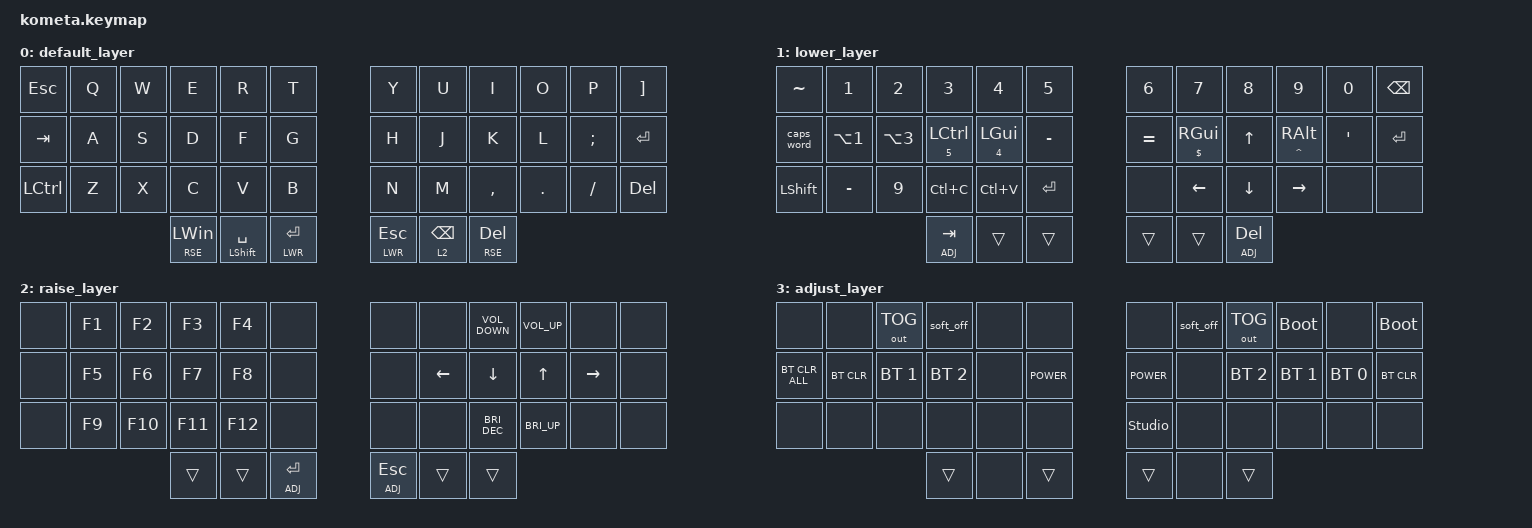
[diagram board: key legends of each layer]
#include <behaviors.dtsi>
#include <dt-bindings/zmk/bt.h>
#include <dt-bindings/zmk/keys.h>
#include <dt-bindings/zmk/outputs.h>

#define DEF 0
#define LWR 1
#define RSE 2
#define ADJ 3

/ {
};

/ {
    behaviors {
        hr: hr {
            compatible = "zmk,behavior-hold-tap";
            label = "home_row";
            bindings = <&kp>, <&kp>;

            #binding-cells = <2>;
            tapping-term-ms = <150>;
            quick-tap-ms = <250>;
            flavor = "tap-preferred";
        };

        copy: copy {
            compatible = "zmk,behavior-tap-dance";
            label = "COPY";
            #binding-cells = <0>;
            bindings = <&kp C>, <&kp K_COPY>;
        };

        paste: paste {
            compatible = "zmk,behavior-tap-dance";
            label = "PASTE";
            #binding-cells = <0>;
            bindings = <&kp V>, <&kp INSERT>;
        };
    };

    combos {
        compatible = "zmk,combos";

        newbox {
            bindings = <&kp LC(N)>;
            key-positions = <13 14>;
        };

        desk {
            bindings = <&kp RG(D)>;
            key-positions = <15 14>;
        };

        oppen {
            bindings = <&kp RG(E)>;
            key-positions = <15 16>;
        };

        DEEK {
            bindings = <&kp LA(F4)>;
            key-positions = <16 17>;
        };

        LOCK {
            bindings = <&kp LG(L)>;
            key-positions = <28 29>;
        };
    };

    keymap {
        compatible = "zmk,keymap";

        default_layer {
            bindings = <
&kp ESC    &kp Q  &kp W  &kp E             &kp R            &kp T        &kp Y        &kp U       &kp I        &kp O    &kp P     &kp RIGHT_BRACKET
&kp TAB    &kp A  &kp S  &kp D             &kp F            &kp G        &kp H        &kp J       &kp K        &kp L    &kp SEMI  &kp ENTER
&kp LCTRL  &kp Z  &kp X  &kp C             &kp V            &kp B        &kp N        &kp M       &kp COMMA    &kp DOT  &kp FSLH  &kp DEL
                         &lt RSE LEFT_WIN  &mt LSHFT SPACE  &lt LWR RET  &lt LWR ESC  &lt 2 BSPC  &lt RSE DEL
            >;
        };

        lower_layer {
            bindings = <
&kp TILDE       &kp NUMBER_1      &kp NUMBER_2      &kp NUMBER_3         &kp NUMBER_4           &kp N5     &kp NUMBER_6  &kp N7                &kp N8          &kp N9               &kp N0   &kp BACKSPACE
&caps_word      &kp LA(NUMBER_1)  &kp LA(NUMBER_3)  &hr N5 LEFT_CONTROL  &hr NUMBER_4 LEFT_GUI  &kp MINUS  &kp EQUAL     &hr DOLLAR RIGHT_GUI  &kp UP_ARROW    &hr CARET RIGHT_ALT  &kp SQT  &kp ENTER
&kp LEFT_SHIFT  &kp MINUS         &kp N9            &kp LC(C)            &kp LC(V)              &kp ENTER  &none         &kp LEFT_ARROW        &kp DOWN_ARROW  &kp RIGHT_ARROW      &none    &none
                                                    &lt ADJ TAB          &trans                 &trans     &trans        &trans                &lt ADJ DEL
            >;
        };

        raise_layer {
            bindings = <
&none  &kp F1  &kp F2   &kp F3   &kp F4   &none        &none        &none     &kp C_VOLUME_DOWN     &kp C_VOLUME_UP  &none            &none
&none  &kp F5  &kp F6   &kp F7   &kp F8   &none        &none        &kp LEFT  &kp DOWN              &kp UP           &kp RIGHT_ARROW  &none
&none  &kp F9  &kp F10  &kp F11  &kp F12  &none        &none        &none     &kp C_BRIGHTNESS_DEC  &kp C_BRI_UP     &none            &none
                        &trans   &trans   &lt ADJ RET  &lt ADJ ESC  &trans    &trans
            >;
        };

        adjust_layer {
            bindings = <
&none           &none       &out OUT_TOG  &soft_off     &none  &none        &none           &soft_off  &out OUT_TOG  &bootloader   &none         &bootloader
&bt BT_CLR_ALL  &bt BT_CLR  &bt BT_SEL 1  &bt BT_SEL 2  &none  &kp K_POWER  &kp K_POWER     &none      &bt BT_SEL 2  &bt BT_SEL 1  &bt BT_SEL 0  &bt BT_CLR
&none           &none       &none         &none         &none  &none        &studio_unlock  &none      &none         &none         &none         &none
                                          &trans        &none  &trans       &trans          &none      &trans
            >;
        };
    };
};
